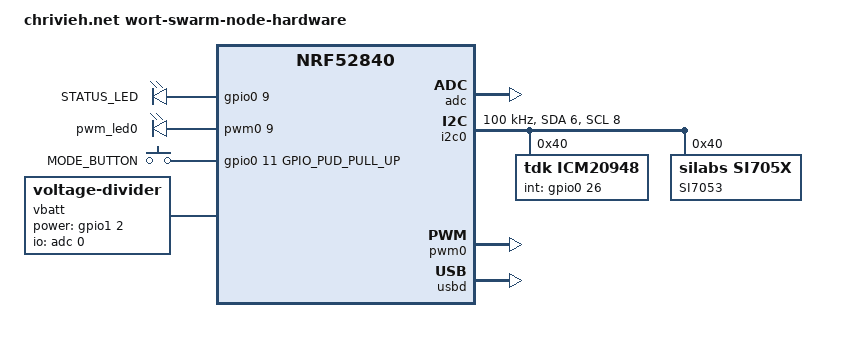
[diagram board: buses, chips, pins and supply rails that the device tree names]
/*
 * Copyright (c) 2017 Linaro Limited
 *
 * SPDX-License-Identifier: Apache-2.0
 */

/dts-v1/;
#include <nordic/nrf52840_qiaa.dtsi>

/ {
	model = "chrivieh.net wort-swarm-node-hardware";
	compatible = "chirsch,wort-swarm-node-hardware";

	chosen {
		zephyr,sram = &sram0;
		zephyr,flash = &flash0;
		zephyr,code-partition = &slot0_partition;
	};

	leds {
		compatible = "gpio-leds";
		led0: led_0 {
		  gpios = <&gpio0 9 0>;
		  label = "STATUS_LED";
	  	};
	};

	pwmleds {
		compatible = "pwm-leds";
		pwm_led0: pwm_led_0 {
			  pwms = <&pwm0 9>;
		};
	};

	gpio_keys {
		compatible = "gpio-keys";
		mode_button: button_0 {
			gpios = <&gpio0 11 GPIO_PUD_PULL_UP>;
			label = "MODE_BUTTON";
		};
	};

	/* These aliases are provided for compatibility with samples */
	aliases {
		led0 = &led0;
		pwm-led0 = &pwm_led0;
	};
	
	vbatt {
		compatible = "voltage-divider";
		io-channels = <&adc 0>;	/* AIN0 P0.02 */
		output-ohms = <1500>;
		full-ohms = <(1500 + 10000)>;
		power-gpios = <&gpio1 2 0>;
	};
};

&adc {
	status = "okay";
};

&gpiote {
	status = "okay";
};

&gpio0 {
	status = "okay";
};

&gpio1 {
	status = "okay";
};

&i2c0 {
        compatible = "nordic,nrf-twi";
        status = "okay";
        sda-pin = <6>;  /* P0.06 */
        scl-pin = <8>;  /* P0.08 */
        clock-frequency = <I2C_BITRATE_STANDARD>;

	    icm20948: icm20948@40 {
			compatible = "tdk,icm20948";
			reg = <0x40>;
			label = "ICM20948";
			int-gpios = <&gpio0 26 0>;	// P0.26
		};
		
		si7053: si7053@40 {
			compatible = "silabs,si705x";
			reg = <0x40>;
			label = "SI7053";
		};
};

&pwm0 {
	status = "okay";
	ch0-pin = <9>;
	ch0-inverted;
};

&flash0 {
	/*
	 * For more information, see:
	 * http://docs.zephyrproject.org/latest/guides/dts/index.html#flash-partitions
	 */
	partitions {
		compatible = "fixed-partitions";
		#address-cells = <1>;
		#size-cells = <1>;

		boot_partition: partition@0 {
			label = "mcuboot";
			reg = <0x000000000 0x0000C000>;
		};
		slot0_partition: partition@c000 {
			label = "image-0";
			reg = <0x0000C000 0x000067000>;
		};
		slot1_partition: partition@73000 {
			label = "image-1";
			reg = <0x00073000 0x000067000>;
		};
		scratch_partition: partition@da000 {
			label = "image-scratch";
			reg = <0x000da000 0x0001e000>;
		};

		/*
		 * The flash starting at 0x000f8000 and ending at
		 * 0x000fffff is reserved for use by the application.
		 */

		/* Storage partition will be used by FCB/NFFS/NVS if enabled. */
		storage_partition: partition@f8000 {
			label = "storage";
			reg = <0x000f8000 0x00008000>;
		};
	};
};

&usbd {
	compatible = "nordic,nrf-usbd";
	status = "okay";
};
